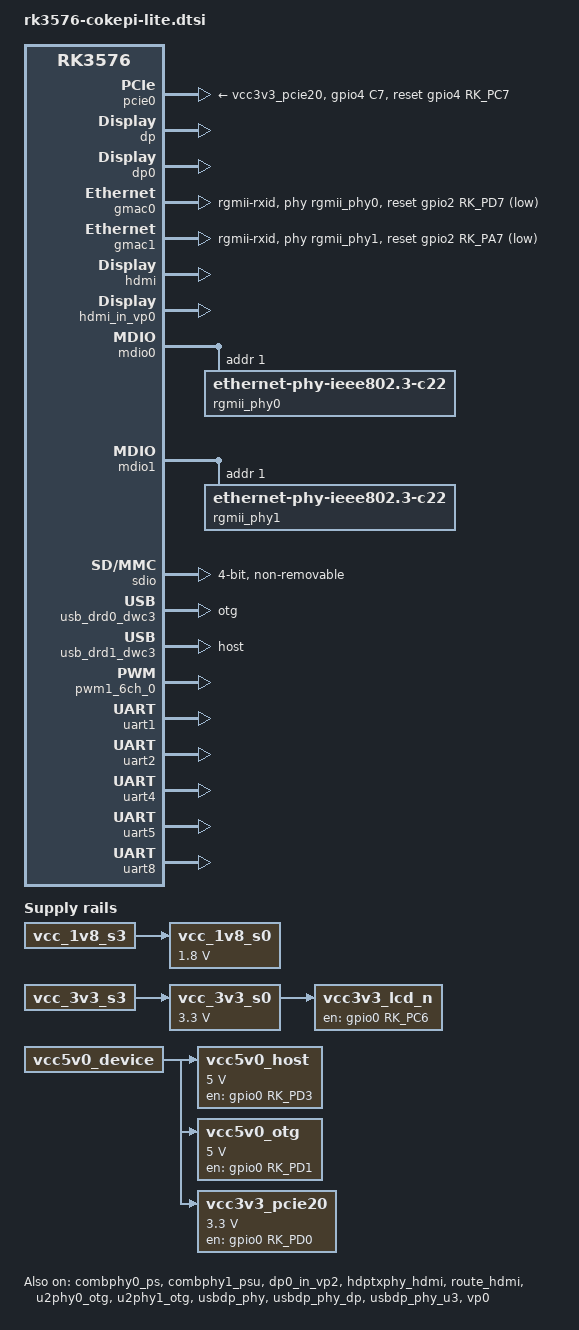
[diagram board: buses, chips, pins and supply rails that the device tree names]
// SPDX-License-Identifier: (GPL-2.0+ OR MIT)
/*
 * Copyright (c) 2024 Rockchip Electronics Co., Ltd.
 *
 */

#include <dt-bindings/usb/pd.h>
#include "rk3576-cokepi.dtsi"
#include "rk3576-rk806.dtsi"

/ {
	vcc_1v8_s0: vcc-1v8-s0 {
		compatible = "regulator-fixed";
		regulator-name = "vcc_1v8_s0";
		regulator-boot-on;
		regulator-always-on;
		regulator-min-microvolt = <1800000>;
		regulator-max-microvolt = <1800000>;
		vin-supply = <&vcc_1v8_s3>;
	};

	vcc_3v3_s0: vcc-3v3-s0 {
		compatible = "regulator-fixed";
		regulator-name = "vcc_3v3_s0";
		regulator-boot-on;
		regulator-always-on;
		regulator-min-microvolt = <3300000>;
		regulator-max-microvolt = <3300000>;
		vin-supply = <&vcc_3v3_s3>;
	};

	vcc3v3_lcd_n: vcc3v3-lcd0-n {
		compatible = "regulator-fixed";
		regulator-name = "vcc3v3_lcd0_n";
		regulator-boot-on;
		enable-active-high;
		gpio = <&gpio0 RK_PC6 GPIO_ACTIVE_HIGH>;
		vin-supply = <&vcc_3v3_s0>;
	};

	vcc5v0_host: vcc5v0-host {
		compatible = "regulator-fixed";
		regulator-name = "vcc5v0_host";
		regulator-boot-on;
		regulator-always-on;
		regulator-min-microvolt = <5000000>;
		regulator-max-microvolt = <5000000>;
		enable-active-high;
		gpio = <&gpio0 RK_PD3 GPIO_ACTIVE_HIGH>;
		vin-supply = <&vcc5v0_device>;
		pinctrl-names = "default";
		pinctrl-0 = <&usb_host_pwren>;
	};

	vcc5v0_otg: vcc5v0-otg {
		compatible = "regulator-fixed";
		regulator-name = "vcc5v0_otg";
		regulator-min-microvolt = <5000000>;
		regulator-max-microvolt = <5000000>;
		enable-active-high;
		gpio = <&gpio0 RK_PD1 GPIO_ACTIVE_HIGH>;
		vin-supply = <&vcc5v0_device>;
		pinctrl-names = "default";
		pinctrl-0 = <&usb_otg0_pwren>;
	};

	vcc3v3_pcie20: vcc3v3-pcie20 {
		compatible = "regulator-fixed";
		regulator-name = "vcc3v3_pcie20";
		regulator-min-microvolt = <3300000>;
		regulator-max-microvolt = <3300000>;
		enable-active-high;
		gpios = <&gpio0 RK_PD0 GPIO_ACTIVE_HIGH>;
		startup-delay-us = <5000>;
		vin-supply = <&vcc5v0_device>;
	};
};

&combphy0_ps {
	status = "okay";
};

&combphy1_psu {
	status = "okay";
};

/* pcie0 -> combphy0_ps
 */
&pcie0 {
	status = "okay";
	reset-gpios = <&gpio4 RK_PC7 GPIO_ACTIVE_HIGH>;
	vpcie3v3-supply = <&vcc3v3_pcie20>;
	pinctrl-names = "default";
	pinctrl-0 = <&pcie20_rst>;
};

&dp {
	status = "okay";
};

&dp0 {
	status = "okay";
};

&dp0_in_vp2 {
	status = "okay";
};

&dp0_sound {
	status = "disabled";
};

&gmac0 {
	/* Use rgmii-rxid mode to disable rx delay inside Soc */
	phy-mode = "rgmii-rxid";
	clock_in_out = "output";

	snps,reset-gpio = <&gpio2 RK_PD7 GPIO_ACTIVE_LOW>;
	snps,reset-active-low;
	/* Reset time is 20ms, 100ms for rtl8211f */
	snps,reset-delays-us = <0 20000 100000>;

	pinctrl-names = "default";
	pinctrl-0 = <&eth0m0_miim
		     &eth0m0_tx_bus2
		     &eth0m0_rx_bus2
		     &eth0m0_rgmii_clk
		     &eth0m0_rgmii_bus
		     &ethm0_clk0_25m_out>;

	tx_delay = <0x21>;
	/* rx_delay = <0x3f>; */

	phy-handle = <&rgmii_phy0>;
	status = "okay";
};

&gmac1 {
	/* Use rgmii-rxid mode to disable rx delay inside Soc */
	phy-mode = "rgmii-rxid";
	clock_in_out = "output";

	snps,reset-gpio = <&gpio2 RK_PA7 GPIO_ACTIVE_LOW>;
	snps,reset-active-low;
	/* Reset time is 20ms, 100ms for rtl8211f */
	snps,reset-delays-us = <0 20000 100000>;

	pinctrl-names = "default";
	pinctrl-0 = <&eth1m0_miim
		     &eth1m0_tx_bus2
		     &eth1m0_rx_bus2
		     &eth1m0_rgmii_clk
		     &eth1m0_rgmii_bus
		     &ethm0_clk1_25m_out>;

	tx_delay = <0x20>;
	/* rx_delay = <0x3f>; */

	phy-handle = <&rgmii_phy1>;
	status = "okay";
};

&hdmi {
	status = "okay";
	enable-gpios = <&gpio4 RK_PC4 GPIO_ACTIVE_HIGH>;
	rockchip,sda-falling-delay-ns = <360>;
};

&hdmi_in_vp0 {
	status = "okay";
};

&hdptxphy_hdmi {
	status = "okay";
};

&i2c7 {
	status = "disabled";
	pinctrl-names = "default";
	pinctrl-0 = <&i2c7m1_xfer>;
};

&i2c8 {
	status = "disabled";
	pinctrl-names = "default";
	pinctrl-0 = <&i2c8m2_xfer>;
};

&mdio0 {
	rgmii_phy0: phy@1 {
		compatible = "ethernet-phy-ieee802.3-c22";
		reg = <0x1>;
		clocks = <&cru REFCLKO25M_GMAC0_OUT>;
	};
};

&mdio1 {
	rgmii_phy1: phy@1 {
		compatible = "ethernet-phy-ieee802.3-c22";
		reg = <0x1>;
		clocks = <&cru REFCLKO25M_GMAC1_OUT>;
	};
};

&pinctrl {
	usb {
		usb_host_pwren: usb-host-pwren {
			rockchip,pins = <0 RK_PD3 RK_FUNC_GPIO &pcfg_pull_none>;
		};

		usb_otg0_pwren: usb-otg0-pwren {
			rockchip,pins = <0 RK_PD1 RK_FUNC_GPIO &pcfg_pull_none>;
		};
	};

	pcie20 {
		pcie20_rst: pcie20-rst {
			rockchip,pins = <4 RK_PC7 RK_FUNC_GPIO &pcfg_pull_none>;
		};
	};
};

&route_hdmi {
	status = "okay";
	connect = <&vp0_out_hdmi>;
};

&sai1 {
	status = "disabled";
	pinctrl-names = "default";
	pinctrl-0 = <&sai1m0_lrck
		     &sai1m0_sclk
		     &sai1m0_sdi0
		     &sai1m0_sdo0>;
};

&sdio {
	max-frequency = <200000000>;
	no-sd;
	no-mmc;
	bus-width = <4>;
	disable-wp;
	cap-sd-highspeed;
	cap-sdio-irq;
	keep-power-in-suspend;
	mmc-pwrseq = <&sdio_pwrseq>;
	non-removable;
	pinctrl-names = "default";
	pinctrl-0 = <&sdmmc1m0_bus4 &sdmmc1m0_clk &sdmmc1m0_cmd>;
	//sd-uhs-sdr104;
	rockchip,default-sample-phase = <90>;
	status = "okay";
};

&u2phy0_otg {
	phy-supply = <&vcc5v0_otg>;
	status = "okay";
};

&u2phy1_otg {
	phy-supply = <&vcc5v0_host>;
	status = "okay";
};

&usbdp_phy {
	rockchip,dp-lane-mux = <0 1>;
	status = "okay";
};

&usbdp_phy_dp {
	status = "okay";
};

&usbdp_phy_u3 {
	status = "okay";
};

&usb_drd0_dwc3 {
	dr_mode = "otg";
	extcon = <&u2phy0>;
	status = "okay";
};

&usb_drd1_dwc3 {
	dr_mode = "host";
	status = "okay";
};

&vp0 {
	status = "okay";
};

&pwm1_6ch_0 {
	status = "okay";
	pinctrl-0 = <&pwm1m0_ch0>;
};

/* Conflict with fiq_debugger
 */
&uart0 {
	status = "disabled";
	pinctrl-names = "default";
	pinctrl-0 = <&uart0m0_xfer>;
};

&uart1 {
	status = "okay";
	pinctrl-names = "default";
	pinctrl-0 = <&uart1m1_xfer>;
};

&uart2 {
	status = "okay";
	pinctrl-names = "default";
	pinctrl-0 = <&uart2m1_xfer>;
};

&uart4 {
	status = "okay";
	pinctrl-names = "default";
	pinctrl-0 = <&uart4m1_xfer &uart4m1_ctsn>;
};

&uart5 {
	status = "okay";
	pinctrl-names = "default";
	pinctrl-0 = <&uart5m1_xfer>;
};

&uart8 {
	status = "okay";
	pinctrl-names = "default";
	pinctrl-0 = <&uart8m2_xfer>;
};
